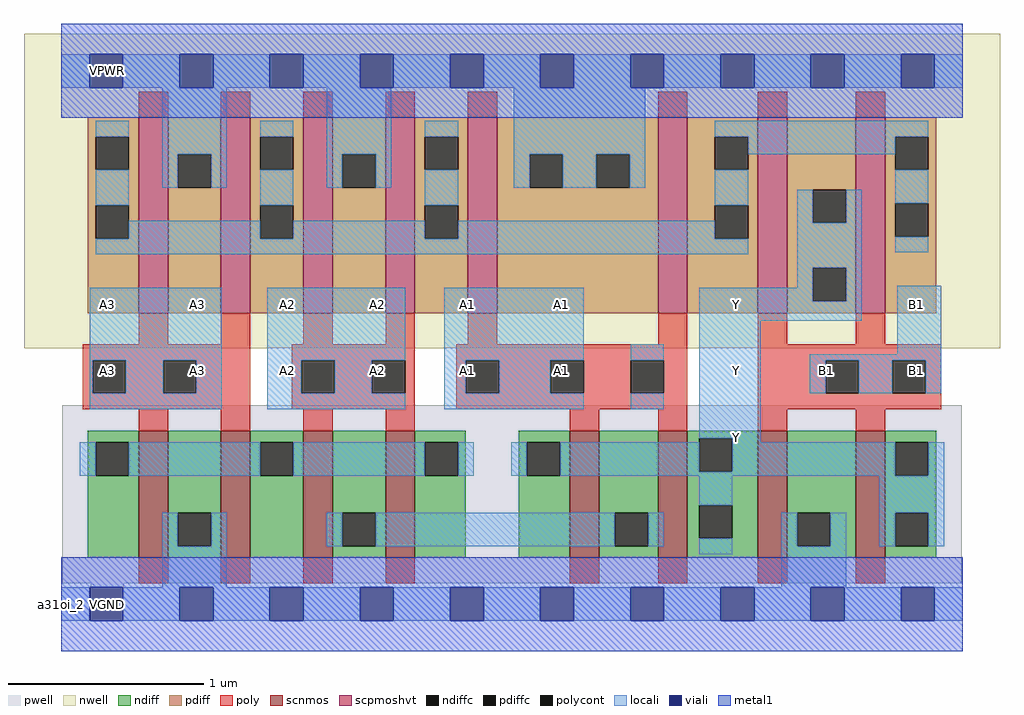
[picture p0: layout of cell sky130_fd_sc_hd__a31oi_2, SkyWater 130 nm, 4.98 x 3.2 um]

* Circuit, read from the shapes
.subckt sky130_fd_sc_hd__a31oi_2 VPWR VGND VPB VNB B1 Y A1 A2 A3
XM1 VGND A3 n1 VNB sky130_fd_pr__nfet_01v8 w=0.65 l=0.15 m=2
XM2 n2 A2 n1 VNB sky130_fd_pr__nfet_01v8 w=0.65 l=0.15 m=2
XM3 n2 A1 Y VNB sky130_fd_pr__nfet_01v8 w=0.65 l=0.15 m=2
XM4 VGND B1 Y VNB sky130_fd_pr__nfet_01v8 w=0.65 l=0.15 m=2
XM5 VPWR A3 n3 VPB sky130_fd_pr__pfet_01v8_hvt w=1 l=0.15 m=2
XM6 VPWR A2 n3 VPB sky130_fd_pr__pfet_01v8_hvt w=1 l=0.15 m=2
XM7 VPWR A1 n3 VPB sky130_fd_pr__pfet_01v8_hvt w=1 l=0.15 m=2
XM8 Y B1 n3 VPB sky130_fd_pr__pfet_01v8_hvt w=1 l=0.15 m=2
.ends

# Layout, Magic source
magic
tech sky130B
magscale 1 2
<< nwell >>
rect -38 221 958 542
<< pwell >>
rect 1 -19 919 163
rect 30 -57 64 -19
<< scnmos >>
rect 79 7 109 137
rect 163 7 193 137
rect 247 7 277 137
rect 331 7 361 137
rect 519 7 549 137
rect 609 7 639 137
rect 711 7 741 137
rect 811 7 841 137
<< scpmoshvt >>
rect 79 257 109 457
rect 163 257 193 457
rect 247 257 277 457
rect 331 257 361 457
rect 415 257 445 457
rect 609 257 639 457
rect 711 257 741 457
rect 811 257 841 457
<< ndiff >>
rect 27 125 79 137
rect 27 91 35 125
rect 69 91 79 125
rect 27 7 79 91
rect 109 53 163 137
rect 109 19 119 53
rect 153 19 163 53
rect 109 7 163 19
rect 193 125 247 137
rect 193 91 203 125
rect 237 91 247 125
rect 193 7 247 91
rect 277 53 331 137
rect 277 19 287 53
rect 321 19 331 53
rect 277 7 331 19
rect 361 125 413 137
rect 361 91 371 125
rect 405 91 413 125
rect 361 7 413 91
rect 467 125 519 137
rect 467 91 475 125
rect 509 91 519 125
rect 467 7 519 91
rect 549 53 609 137
rect 549 19 565 53
rect 599 19 609 53
rect 549 7 609 19
rect 639 129 711 137
rect 639 95 651 129
rect 685 95 711 129
rect 639 61 711 95
rect 639 27 651 61
rect 685 27 711 61
rect 639 7 711 27
rect 741 53 811 137
rect 741 19 751 53
rect 785 19 811 53
rect 741 7 811 19
rect 841 125 893 137
rect 841 91 851 125
rect 885 91 893 125
rect 841 53 893 91
rect 841 19 851 53
rect 885 19 893 53
rect 841 7 893 19
<< pdiff >>
rect 27 437 79 457
rect 27 403 35 437
rect 69 403 79 437
rect 27 367 79 403
rect 27 333 35 367
rect 69 333 79 367
rect 27 257 79 333
rect 109 419 163 457
rect 109 385 119 419
rect 153 385 163 419
rect 109 257 163 385
rect 193 437 247 457
rect 193 403 203 437
rect 237 403 247 437
rect 193 367 247 403
rect 193 333 203 367
rect 237 333 247 367
rect 193 257 247 333
rect 277 419 331 457
rect 277 385 287 419
rect 321 385 331 419
rect 277 257 331 385
rect 361 437 415 457
rect 361 403 371 437
rect 405 403 415 437
rect 361 367 415 403
rect 361 333 371 367
rect 405 333 415 367
rect 361 257 415 333
rect 445 419 609 457
rect 445 385 478 419
rect 512 385 546 419
rect 580 385 609 419
rect 445 257 609 385
rect 639 437 711 457
rect 639 403 667 437
rect 701 403 711 437
rect 639 367 711 403
rect 639 333 667 367
rect 701 333 711 367
rect 639 257 711 333
rect 741 383 811 457
rect 741 349 767 383
rect 801 349 811 383
rect 741 303 811 349
rect 741 269 767 303
rect 801 269 811 303
rect 741 257 811 269
rect 841 437 893 457
rect 841 403 851 437
rect 885 403 893 437
rect 841 369 893 403
rect 841 335 851 369
rect 885 335 893 369
rect 841 257 893 335
<< ndiffc >>
rect 35 91 69 125
rect 119 19 153 53
rect 203 91 237 125
rect 287 19 321 53
rect 371 91 405 125
rect 475 91 509 125
rect 565 19 599 53
rect 651 95 685 129
rect 651 27 685 61
rect 751 19 785 53
rect 851 91 885 125
rect 851 19 885 53
<< pdiffc >>
rect 35 403 69 437
rect 35 333 69 367
rect 119 385 153 419
rect 203 403 237 437
rect 203 333 237 367
rect 287 385 321 419
rect 371 403 405 437
rect 371 333 405 367
rect 478 385 512 419
rect 546 385 580 419
rect 667 403 701 437
rect 667 333 701 367
rect 767 349 801 383
rect 767 269 801 303
rect 851 403 885 437
rect 851 335 885 369
<< poly >>
rect 79 457 109 483
rect 163 457 193 483
rect 247 457 277 483
rect 331 457 361 483
rect 415 457 445 483
rect 609 457 639 483
rect 711 457 741 483
rect 811 457 841 483
rect 79 225 109 257
rect 163 225 193 257
rect 247 225 277 257
rect 331 225 361 257
rect 415 225 445 257
rect 609 225 639 257
rect 22 209 193 225
rect 22 175 32 209
rect 66 175 104 209
rect 138 175 193 209
rect 22 159 193 175
rect 235 209 361 225
rect 235 175 245 209
rect 279 175 317 209
rect 351 175 361 209
rect 235 159 361 175
rect 403 209 639 225
rect 403 175 413 209
rect 447 175 499 209
rect 533 175 581 209
rect 615 175 639 209
rect 403 159 639 175
rect 79 137 109 159
rect 163 137 193 159
rect 247 137 277 159
rect 331 137 361 159
rect 519 137 549 159
rect 609 137 639 159
rect 711 225 741 257
rect 811 225 841 257
rect 711 209 898 225
rect 711 175 780 209
rect 814 175 848 209
rect 882 175 898 209
rect 711 159 898 175
rect 711 137 741 159
rect 811 137 841 159
rect 79 -19 109 7
rect 163 -19 193 7
rect 247 -19 277 7
rect 331 -19 361 7
rect 519 -19 549 7
rect 609 -19 639 7
rect 711 -19 741 7
rect 811 -19 841 7
<< polycont >>
rect 32 175 66 209
rect 104 175 138 209
rect 245 175 279 209
rect 317 175 351 209
rect 413 175 447 209
rect 499 175 533 209
rect 581 175 615 209
rect 780 175 814 209
rect 848 175 882 209
<< locali >>
rect 0 487 29 521
rect 63 487 121 521
rect 155 487 213 521
rect 247 487 305 521
rect 339 487 397 521
rect 431 487 489 521
rect 523 487 581 521
rect 615 487 673 521
rect 707 487 765 521
rect 799 487 857 521
rect 891 487 920 521
rect 35 437 69 453
rect 35 367 69 403
rect 103 419 169 487
rect 103 385 119 419
rect 153 385 169 419
rect 203 437 237 453
rect 203 367 237 403
rect 271 419 337 487
rect 271 385 287 419
rect 321 385 337 419
rect 371 437 405 453
rect 69 333 203 351
rect 371 367 405 403
rect 462 419 596 487
rect 462 385 478 419
rect 512 385 546 419
rect 580 385 596 419
rect 667 437 885 453
rect 701 419 851 437
rect 237 333 371 351
rect 667 367 701 403
rect 405 333 667 351
rect 35 317 701 333
rect 751 349 767 383
rect 801 349 817 383
rect 751 303 817 349
rect 851 369 885 403
rect 851 319 885 335
rect 751 283 767 303
rect 29 209 164 283
rect 29 175 32 209
rect 66 175 104 209
rect 138 175 164 209
rect 29 159 164 175
rect 210 209 351 283
rect 210 175 245 209
rect 279 175 317 209
rect 210 159 351 175
rect 391 209 533 283
rect 651 269 767 283
rect 801 269 817 303
rect 651 249 817 269
rect 391 175 413 209
rect 447 175 499 209
rect 391 159 533 175
rect 581 209 615 225
rect 581 159 615 175
rect 651 129 714 249
rect 853 215 898 285
rect 764 209 898 215
rect 764 175 780 209
rect 814 175 848 209
rect 882 175 898 209
rect 19 91 35 125
rect 69 91 203 125
rect 237 91 371 125
rect 405 91 421 125
rect 459 91 475 125
rect 509 95 651 125
rect 685 125 714 129
rect 685 95 851 125
rect 509 91 851 95
rect 885 91 901 125
rect 651 61 685 91
rect 103 19 119 53
rect 153 19 169 53
rect 271 19 287 53
rect 321 19 565 53
rect 599 19 615 53
rect 835 53 901 91
rect 103 -23 169 19
rect 651 11 685 27
rect 735 19 751 53
rect 785 19 801 53
rect 835 19 851 53
rect 885 19 901 53
rect 735 -23 801 19
rect 0 -57 29 -23
rect 63 -57 121 -23
rect 155 -57 213 -23
rect 247 -57 305 -23
rect 339 -57 397 -23
rect 431 -57 489 -23
rect 523 -57 581 -23
rect 615 -57 673 -23
rect 707 -57 765 -23
rect 799 -57 857 -23
rect 891 -57 920 -23
<< viali >>
rect 29 487 63 521
rect 121 487 155 521
rect 213 487 247 521
rect 305 487 339 521
rect 397 487 431 521
rect 489 487 523 521
rect 581 487 615 521
rect 673 487 707 521
rect 765 487 799 521
rect 857 487 891 521
rect 29 -57 63 -23
rect 121 -57 155 -23
rect 213 -57 247 -23
rect 305 -57 339 -23
rect 397 -57 431 -23
rect 489 -57 523 -23
rect 581 -57 615 -23
rect 673 -57 707 -23
rect 765 -57 799 -23
rect 857 -57 891 -23
<< metal1 >>
rect 0 521 920 552
rect 0 487 29 521
rect 63 487 121 521
rect 155 487 213 521
rect 247 487 305 521
rect 339 487 397 521
rect 431 487 489 521
rect 523 487 581 521
rect 615 487 673 521
rect 707 487 765 521
rect 799 487 857 521
rect 891 487 920 521
rect 0 456 920 487
rect 0 -23 920 8
rect 0 -57 29 -23
rect 63 -57 121 -23
rect 155 -57 213 -23
rect 247 -57 305 -23
rect 339 -57 397 -23
rect 431 -57 489 -23
rect 523 -57 581 -23
rect 615 -57 673 -23
rect 707 -57 765 -23
rect 799 -57 857 -23
rect 891 -57 920 -23
rect 0 -88 920 -57
<< labels >>
rlabel comment s 0 -40 0 -40 4 a31oi_2
flabel metal1 s 30 487 64 521 0 FreeSans 200 0 0 0 VPWR
port 2 nsew
flabel metal1 s 30 -57 64 -23 0 FreeSans 200 0 0 0 VGND
port 3 nsew
flabel nwell s 30 487 64 521 0 FreeSans 200 0 0 0 VPB
port 5 nsew
flabel pwell s 30 -57 64 -23 0 FreeSans 200 0 0 0 VNB
port 6 nsew
flabel locali s 122 181 156 215 0 FreeSans 200 0 0 0 A3
port 11 nsew
flabel locali s 764 181 798 215 0 FreeSans 200 0 0 0 B1
port 7 nsew
flabel locali s 856 181 890 215 0 FreeSans 200 0 0 0 B1
port 7 nsew
flabel locali s 672 181 706 215 0 FreeSans 200 0 0 0 Y
port 8 nsew
flabel locali s 672 249 706 283 0 FreeSans 200 0 0 0 Y
port 8 nsew
flabel locali s 856 249 890 283 0 FreeSans 200 0 0 0 B1
port 7 nsew
flabel locali s 494 249 528 283 0 FreeSans 200 0 0 0 A1
port 9 nsew
flabel locali s 398 249 432 283 0 FreeSans 200 0 0 0 A1
port 9 nsew
flabel locali s 398 181 432 215 0 FreeSans 200 0 0 0 A1
port 9 nsew
flabel locali s 672 113 706 147 0 FreeSans 200 0 0 0 Y
port 8 nsew
flabel locali s 306 249 340 283 0 FreeSans 200 0 0 0 A2
port 10 nsew
flabel locali s 214 181 248 215 0 FreeSans 200 0 0 0 A2
port 10 nsew
flabel locali s 214 249 248 283 0 FreeSans 200 0 0 0 A2
port 10 nsew
flabel locali s 494 181 528 215 0 FreeSans 200 0 0 0 A1
port 9 nsew
flabel locali s 122 249 156 283 0 FreeSans 200 0 0 0 A3
port 11 nsew
flabel locali s 30 249 64 283 0 FreeSans 200 0 0 0 A3
port 11 nsew
flabel locali s 30 181 64 215 0 FreeSans 200 0 0 0 A3
port 11 nsew
flabel locali s 306 181 340 215 0 FreeSans 200 0 0 0 A2
port 10 nsew
<< properties >>
string FIXED_BBOX 0 -40 920 504
string path 0.000 12.600 23.000 12.600 
<< end >>
